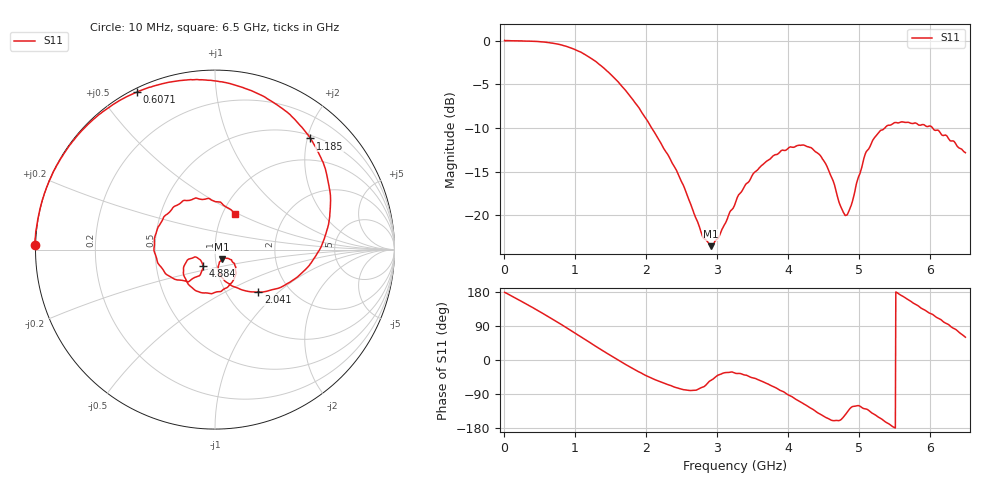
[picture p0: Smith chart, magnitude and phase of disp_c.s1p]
!Keysight Technologies,P9371A,MY57211172,A.13.10.05
!Date: Monday, March 30, 2026 15:59:42
!Correction: S11(Full 2 Port(1,2))
!S1P File: Measurement: S11:
# Hz S  dB  R 50
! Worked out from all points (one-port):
!   1001 points, 10 MHz to 6.5 GHz, reference 50 ohm
!   lowest |S11| = -23.6 dB at 2.918 GHz (marker M1), VSWR 1.14, Z = 53.8 - j5.78 ohm
!   |S11| at or under -10 dB: 2.082 GHz to 5.365 GHz (3.282 GHz wide, 88.2 % of centre); 6.038 GHz to end of sweep
!   S11 on the Smith chart (normalised r, x): 10 MHz: -0.00, +0.01; 607.1 MHz: 0.01, +0.62; 1.185 GHz: 0.55, +2.05; 2.041 GHz: 1.40, -0.75; 4.884 GHz: 0.86, -0.16; 6.5 GHz: 1.15, +0.48
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1e7  0.05 178.6
2.9556e8  -0.02 149.9
6.0708e8  -0.18 116.5
8.2125e8  -0.50 92.2
9.9648e8  -0.98 71.7
1.18469e9  -1.77 49.3
1.39886e9  -3.06 23.8
1.6325e9  -4.93 -2.7
1.84018e9  -7.02 -25.1
2.04137e9  -9.44 -44.5
2.44375e9  -15.09 -73.4
2.79421e9  -22.36 -72.0
2.91752e9  -23.55 -53.6
3.255e9  -18.71 -34.6
3.66387e9  -14.05 -58.7
4.06625e9  -12.21 -97.8
4.46214e9  -13.21 -143.8
4.61141e9  -15.58 -158.9
4.78015e9  -19.66 -151.0
4.8775e9  -19.15 -127.5
4.88399e9  -19.02 -126.2
5.08518e9  -13.07 -128.9
5.21498e9  -11.15 -143.0
5.48107e9  -9.49 -176.5
5.68875e9  -9.34 159.8
5.90292e9  -9.60 134.2
6.10411e9  -10.24 111.4
6.5e9  -12.83 60.2
